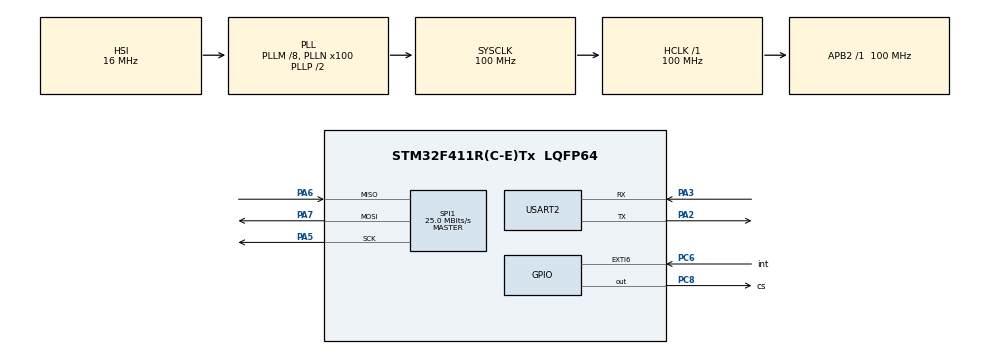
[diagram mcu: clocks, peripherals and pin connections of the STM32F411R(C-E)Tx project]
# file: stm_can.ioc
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Mcu.Family=STM32F4
Mcu.Name=STM32F411R(C-E)Tx
Mcu.Package=LQFP64
NVIC.EXTI9_5_IRQn=true\:0\:0\:false\:false\:true\:true\:true\:true
NVIC.PriorityGroup=NVIC_PRIORITYGROUP_4
PA13.Mode=Serial_Wire
PA13.Signal=SYS_JTMS-SWDIO
PA14.Mode=Serial_Wire
PA14.Signal=SYS_JTCK-SWCLK
PA2.Mode=Asynchronous
PA2.Signal=USART2_TX
PA3.Mode=Asynchronous
PA3.Signal=USART2_RX
PA5.Mode=Full_Duplex_Master
PA5.Signal=SPI1_SCK
PA6.Mode=Full_Duplex_Master
PA6.Signal=SPI1_MISO
PA7.Mode=Full_Duplex_Master
PA7.Signal=SPI1_MOSI
PC6.GPIO_Label=int
PC6.Signal=GPXTI6
PC8.GPIO_Label=cs
PC8.Signal=GPIO_Output
PH0\ -\ OSC_IN.Mode=HSE-External-Clock-Source
PH0\ -\ OSC_IN.Signal=RCC_OSC_IN
PH1\ -\ OSC_OUT.Mode=HSE-External-Clock-Source
PH1\ -\ OSC_OUT.Signal=RCC_OSC_OUT
ProjectManager.HeapSize=0x200
ProjectManager.StackSize=0x400
ProjectManager.TargetToolchain=STM32CubeIDE
RCC.48MHZClocksFreq_Value=50000000
RCC.AHBFreq_Value=100000000
RCC.APB1CLKDivider=RCC_HCLK_DIV2
RCC.APB1Freq_Value=50000000
RCC.APB1TimFreq_Value=100000000
RCC.APB2Freq_Value=100000000
RCC.APB2TimFreq_Value=100000000
RCC.CortexFreq_Value=100000000
RCC.HCLKFreq_Value=100000000
RCC.HSE_VALUE=8000000
RCC.HSI_VALUE=16000000
RCC.LSE_VALUE=32768
RCC.PLLM=8
RCC.PLLN=100
RCC.SYSCLKFreq_VALUE=100000000
RCC.SYSCLKSource=RCC_SYSCLKSOURCE_PLLCLK
RCC.VCOOutputFreq_Value=200000000
SPI1.BaudRatePrescaler=SPI_BAUDRATEPRESCALER_4
SPI1.CalculateBaudRate=25.0 MBits/s
SPI1.Direction=SPI_DIRECTION_2LINES
SPI1.Mode=SPI_MODE_MASTER
SPI1.VirtualType=VM_MASTER
USART2.VirtualMode=VM_ASYNC
board=custom

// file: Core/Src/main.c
/* USER CODE BEGIN Header */
/**
  ******************************************************************************
  * @file           : main.c
  * @brief          : Main program body
  ******************************************************************************
  */
/* USER CODE END Header */
#include "main.h"
#include "spi.h"
#include "usart.h"
#include "gpio.h"
#include <string.h>
#include <stdio.h>

void SystemClock_Config(void);

/* USER CODE BEGIN 0 */

/* ------ MCP2515 CAN 통신 전역 변수 및 함수 ------ */

volatile uint8_t mcp2515_status = 0;
extern SPI_HandleTypeDef hspi1;
extern UART_HandleTypeDef huart2;

// 라즈베리파이에서 받은 속도 명령 저장 (0=정지, 1=저속, 2=정속)
volatile uint8_t received_speed_cmd = 0;

// 1. MCP2515 레지스터에서 1바이트 읽기
uint8_t MCP2515_ReadRegister(uint8_t address) {
    uint8_t read_instruction = 0x03;
    uint8_t result = 0;

    HAL_GPIO_WritePin(GPIOC, GPIO_PIN_8, GPIO_PIN_RESET); // CS LOW
    HAL_SPI_Transmit(&hspi1, &read_instruction, 1, 100);
    HAL_SPI_Transmit(&hspi1, &address, 1, 100);
    HAL_SPI_Receive(&hspi1, &result, 1, 100);
    HAL_GPIO_WritePin(GPIOC, GPIO_PIN_8, GPIO_PIN_SET);   // CS HIGH

    return result;
}

// 2. MCP2515 레지스터에 1바이트 쓰기
void MCP2515_WriteRegister(uint8_t address, uint8_t value) {
    uint8_t write_instruction = 0x02;

    HAL_GPIO_WritePin(GPIOC, GPIO_PIN_8, GPIO_PIN_RESET); // CS LOW
    HAL_SPI_Transmit(&hspi1, &write_instruction, 1, 100);
    HAL_SPI_Transmit(&hspi1, &address, 1, 100);
    HAL_SPI_Transmit(&hspi1, &value, 1, 100);
    HAL_GPIO_WritePin(GPIOC, GPIO_PIN_8, GPIO_PIN_SET);   // CS HIGH
}

// 3. MCP2515 SPI Reset 명령 (0xC0) - Config Mode로 초기화
void MCP2515_Reset(void) {
    HAL_GPIO_WritePin(GPIOC, GPIO_PIN_8, GPIO_PIN_RESET); // CS LOW
    uint8_t reset_cmd = 0xC0;
    HAL_SPI_Transmit(&hspi1, &reset_cmd, 1, 100);
    HAL_GPIO_WritePin(GPIOC, GPIO_PIN_8, GPIO_PIN_SET);   // CS HIGH
    HAL_Delay(10); // 리셋 후 안정화 대기
}

// 4. Normal Mode로 전환
void MCP2515_SetNormalMode(void) {
    MCP2515_WriteRegister(0x0F, 0x00); // CANCTRL = Normal Mode
}

// 5. RXB0가 모든 표준/확장 ID를 받아들이도록 설정 (필터 없이 전부 수신)
void MCP2515_SetReceiveAny(void) {
    // RXB0CTRL(0x60) bit5,6 = 11 → 필터 무시, 모든 메시지 수신
    MCP2515_WriteRegister(0x60, 0x60);
}

// 6. 라즈베리파이로부터 CAN 메시지(RXB0) 수신 확인 및 읽기
uint8_t MCP2515_CheckAndReadRX0(uint8_t *rx_data, uint8_t *rx_dlc) {
    uint8_t canintf = MCP2515_ReadRegister(0x2C); // CANINTF 레지스터

    if (canintf & 0x01) { // RX0IF 비트(bit0) = 1 → 수신 데이터 있음
        uint8_t read_instruction = 0x03;
        uint8_t start_addr = 0x61; // RXB0SIDH

        HAL_GPIO_WritePin(GPIOC, GPIO_PIN_8, GPIO_PIN_RESET); // CS LOW
        HAL_SPI_Transmit(&hspi1, &read_instruction, 1, 100);
        HAL_SPI_Transmit(&hspi1, &start_addr, 1, 100);

        uint8_t header[5]; // SIDH, SIDL, EID8, EID0, DLC
        HAL_SPI_Receive(&hspi1, header, 5, 100);

        uint8_t dlc = header[4] & 0x0F;
        if (dlc > 8) dlc = 8;

        HAL_SPI_Receive(&hspi1, rx_data, dlc, 100);
        HAL_GPIO_WritePin(GPIOC, GPIO_PIN_8, GPIO_PIN_SET); // CS HIGH

        *rx_dlc = dlc;

        // RX0IF 플래그 클리어 (Bit Modify 명령 0x05)
        HAL_GPIO_WritePin(GPIOC, GPIO_PIN_8, GPIO_PIN_RESET);
        uint8_t bitmod_cmd[4] = {0x05, 0x2C, 0x01, 0x00};
        HAL_SPI_Transmit(&hspi1, bitmod_cmd, 4, 100);
        HAL_GPIO_WritePin(GPIOC, GPIO_PIN_8, GPIO_PIN_SET);

        return 1;
    }
    return 0;
}

// 7. UART로 디버그 메시지 출력
void Debug_Print(char *msg) {
    HAL_UART_Transmit(&huart2, (uint8_t*)msg, strlen(msg), 100);
}

/* USER CODE END 0 */

int main(void)
{
  HAL_Init();
  SystemClock_Config();

  MX_GPIO_Init();
  MX_SPI1_Init();
  MX_USART2_UART_Init();

  /* USER CODE BEGIN 2 */

  HAL_Delay(100); // 전원 안정화 대기
  Debug_Print("=== STM32 CAN 수신 테스트 시작 ===\r\n");

  // 1. MCP2515 소프트웨어 리셋 -> Config Mode로 진입
  MCP2515_Reset();

  // 2. CANCTRL 레지스터 확인
  mcp2515_status = MCP2515_ReadRegister(0x0F);

  char dbg_buf[64];
  sprintf(dbg_buf, "Reset 후 CANCTRL: 0x%02X\r\n", mcp2515_status);
  Debug_Print(dbg_buf);

  // 상위 3비트(모드 비트)만 확인 (0x80 = Config Mode)
  if ((mcp2515_status & 0xE0) == 0x80) {
      Debug_Print("MCP2515 응답 확인! (Config Mode) Bitrate 설정 시작...\r\n");

      // 3. CNF3, CNF2, CNF1 (0x28번지부터 연속 쓰기) - 8MHz 크리스탈, 500kbps
      HAL_GPIO_WritePin(GPIOC, GPIO_PIN_8, GPIO_PIN_RESET);
      uint8_t write_cmd = 0x02;
      uint8_t cnf_start_addr = 0x28;
      HAL_SPI_Transmit(&hspi1, &write_cmd, 1, 100);
      HAL_SPI_Transmit(&hspi1, &cnf_start_addr, 1, 100);
      uint8_t cnf_values[3] = {0x02, 0x90, 0x00}; // CNF3, CNF2, CNF1
      HAL_SPI_Transmit(&hspi1, cnf_values, 3, 100);
      HAL_GPIO_WritePin(GPIOC, GPIO_PIN_8, GPIO_PIN_SET);

      // 4. 필터 없이 모든 메시지 수신하도록 설정
      MCP2515_SetReceiveAny();

      // 5. Normal Mode로 전환
      MCP2515_SetNormalMode();
      HAL_Delay(10);

      // 6. Normal Mode 전환 확인 (상위 3비트가 000이어야 Normal Mode)
      uint8_t check_mode = MCP2515_ReadRegister(0x0F);
      sprintf(dbg_buf, "전환 후 CANCTRL: 0x%02X (상위3비트=000 이면 Normal Mode 성공)\r\n", check_mode);
      Debug_Print(dbg_buf);

      if ((check_mode & 0xE0) == 0x00) {
          Debug_Print(">>> CAN 수신 준비 완료! 대기 중...\r\n");
      } else {
          Debug_Print(">>> 경고: Normal Mode 전환 실패\r\n");
      }
  } else {
      Debug_Print("경고: MCP2515 응답 없음! SPI 연결/전원 확인 필요\r\n");
  }

  /* USER CODE END 2 */

  /* Infinite loop */
  /* USER CODE BEGIN WHILE */
  while (1)
  {
    uint8_t rx_data[8] = {0};
    uint8_t rx_dlc = 0;

    // ===== 진단용: CANINTF 레지스터 매번 출력 =====
    // RX0IF(bit0)뿐 아니라 에러 관련 비트도 같이 확인
    uint8_t canintf_debug = MCP2515_ReadRegister(0x2C); // CANINTF
    uint8_t eflg_debug = MCP2515_ReadRegister(0x2D);    // EFLG (에러 플래그)
    uint8_t canstat_debug = MCP2515_ReadRegister(0x0E); // CANSTAT (현재 모드)

    char dbg[80];
    sprintf(dbg, "CANINTF=0x%02X EFLG=0x%02X CANSTAT=0x%02X\r\n",
            canintf_debug, eflg_debug, canstat_debug);
    Debug_Print(dbg);
    // ================================================

    // 라즈베리파이로부터 CAN 메시지 수신 확인
    if (MCP2515_CheckAndReadRX0(rx_data, &rx_dlc)) {
        received_speed_cmd = rx_data[0];

        char buf[80];
        sprintf(buf, "수신: cmd=%d, DLC=%d, data=[%d,%d,%d,%d]\r\n",
                received_speed_cmd, rx_dlc, rx_data[0], rx_data[1], rx_data[2], rx_data[3]);
        Debug_Print(buf);

        if (received_speed_cmd == 0) {
            Debug_Print(">> 정지 명령 수신\r\n");
        } else if (received_speed_cmd == 1) {
            Debug_Print(">> 저속 명령 수신\r\n");
        } else if (received_speed_cmd == 2) {
            Debug_Print(">> 정속 명령 수신\r\n");
        }
    }

    HAL_Delay(300); // 로그가 너무 빨리 지나가지 않도록
  }
  /* USER CODE END WHILE */

}

void SystemClock_Config(void)
{
  RCC_OscInitTypeDef RCC_OscInitStruct = {0};
  RCC_ClkInitTypeDef RCC_ClkInitStruct = {0};

  __HAL_RCC_PWR_CLK_ENABLE();
  __HAL_PWR_VOLTAGESCALING_CONFIG(PWR_REGULATOR_VOLTAGE_SCALE1);

  RCC_OscInitStruct.OscillatorType = RCC_OSCILLATORTYPE_HSI;
  RCC_OscInitStruct.HSIState = RCC_HSI_ON;
  RCC_OscInitStruct.HSICalibrationValue = RCC_HSICALIBRATION_DEFAULT;
  RCC_OscInitStruct.PLL.PLLState = RCC_PLL_ON;
  RCC_OscInitStruct.PLL.PLLSource = RCC_PLLSOURCE_HSI;
  RCC_OscInitStruct.PLL.PLLM = 8;
  RCC_OscInitStruct.PLL.PLLN = 100;
  RCC_OscInitStruct.PLL.PLLP = RCC_PLLP_DIV2;
  RCC_OscInitStruct.PLL.PLLQ = 4;
  if (HAL_RCC_OscConfig(&RCC_OscInitStruct) != HAL_OK)
  {
    Error_Handler();
  }

  RCC_ClkInitStruct.ClockType = RCC_CLOCKTYPE_HCLK|RCC_CLOCKTYPE_SYSCLK
                              |RCC_CLOCKTYPE_PCLK1|RCC_CLOCKTYPE_PCLK2;
  RCC_ClkInitStruct.SYSCLKSource = RCC_SYSCLKSOURCE_PLLCLK;
  RCC_ClkInitStruct.AHBCLKDivider = RCC_SYSCLK_DIV1;
  RCC_ClkInitStruct.APB1CLKDivider = HAL_RCC_GetPCLK1Freq() > 42000000 ? RCC_HCLK_DIV2 : RCC_HCLK_DIV1;
  RCC_ClkInitStruct.APB2CLKDivider = RCC_HCLK_DIV1;

  if (HAL_RCC_ClockConfig(&RCC_ClkInitStruct, FLASH_LATENCY_3) != HAL_OK)
  {
    Error_Handler();
  }
}

void Error_Handler(void)
{
  __disable_irq();
  while (1)
  {
  }
}
